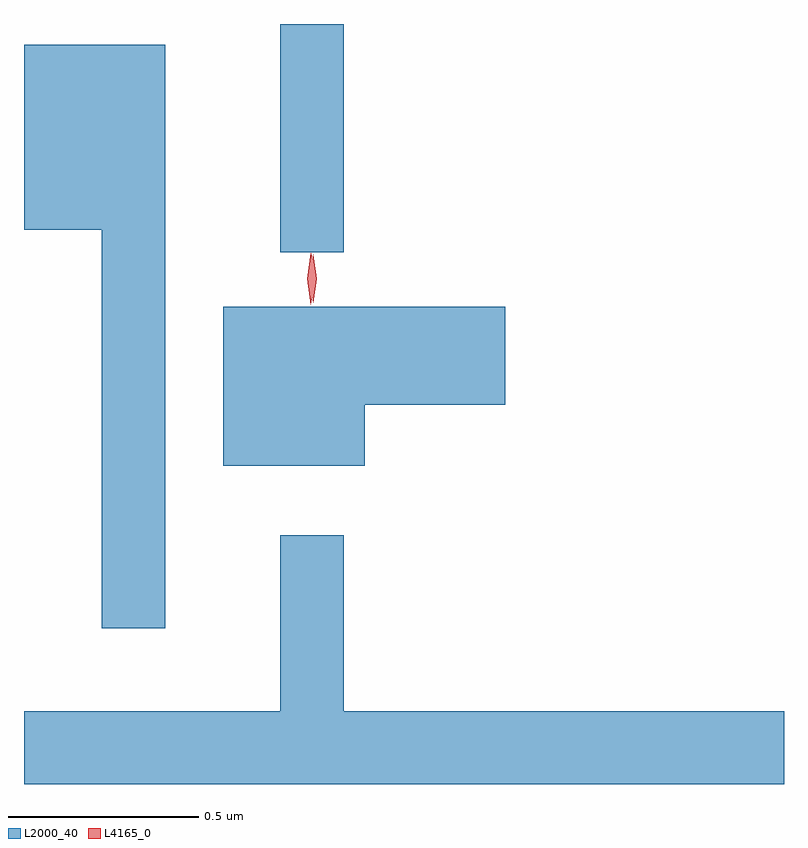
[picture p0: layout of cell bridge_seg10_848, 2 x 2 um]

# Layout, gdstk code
import gdstk
lib = gdstk.Library(unit=1e-6, precision=1e-09)
def R(c, l, rs):  # rectangles x0, y0, x1, y1
    for r in rs: c.add(gdstk.rectangle(r[:2], r[2:], *l))
def P(c, l, *ps):  # polygons
    for p in ps: c.add(gdstk.Polygon(p, *l))
L2000_40 = (2000, 40)
L4165_0 = (4165, 0)

bridge_seg10_848 = lib.new_cell('bridge_seg10_848')
R(bridge_seg10_848, L2000_40, [(391.391,2086.533,391.559,2087.133)])
P(bridge_seg10_848, L2000_40, [(391.089,2087.079),(390.717,2087.079),(390.717,2086.591),(390.921,2086.591),(390.921,2085.543),(391.089,2085.543)],
  [(391.614,2086.131),(391.984,2086.131),(391.984,2086.389),(391.241,2086.389),(391.241,2085.971),(391.614,2085.971)],
  [(392.717,2085.324),(391.559,2085.324),(391.559,2085.788),(391.391,2085.788),(391.391,2085.324),(390.717,2085.324),(390.717,2085.133),(392.717,2085.133)])
P(bridge_seg10_848, L4165_0, [(391.471,2086.394),(391.471,2086.394),(391.462,2086.462),(391.472,2086.53),(391.473,2086.53),(391.473,2086.53),(391.482,2086.462),(391.472,2086.394)],
  [(391.478,2086.4),(391.478,2086.4),(391.468,2086.463),(391.478,2086.526),(391.478,2086.527),(391.478,2086.526),(391.488,2086.463),(391.478,2086.4)])

lib.write_gds('bridge_seg10_848.gds')
